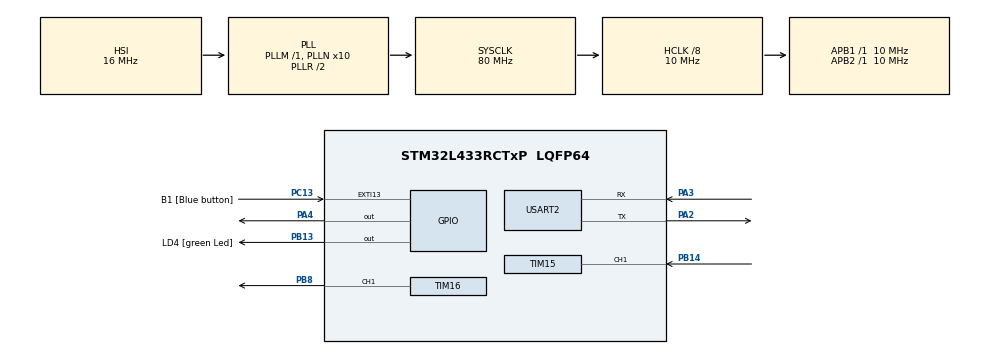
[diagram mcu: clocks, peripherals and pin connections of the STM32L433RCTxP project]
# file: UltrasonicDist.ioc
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Mcu.Family=STM32L4
Mcu.Name=STM32L433RCTxP
Mcu.Package=LQFP64
NVIC.EXTI15_10_IRQn=true\:0\:0\:false\:false\:true\:true\:true\:true
NVIC.PriorityGroup=NVIC_PRIORITYGROUP_4
NVIC.TIM1_BRK_TIM15_IRQn=true\:0\:0\:false\:false\:true\:true\:true\:true
PA2.Mode=Asynchronous
PA2.Signal=USART2_TX
PA3.Mode=Asynchronous
PA3.Signal=USART2_RX
PA4.Signal=GPIO_Output
PB13.GPIO_Label=LD4 [green Led]
PB13.Signal=GPIO_Output
PB14.Signal=S_TIM15_CH1
PB8.Signal=S_TIM16_CH1
PC13.GPIO_Label=B1 [Blue button]
PC13.Signal=GPXTI13
ProjectManager.HeapSize=0x200
ProjectManager.StackSize=0x400
ProjectManager.TargetToolchain=STM32CubeIDE
RCC.ADCFreq_Value=64000000
RCC.AHBCLKDivider=RCC_SYSCLK_DIV8
RCC.AHBFreq_Value=10000000
RCC.APB1Freq_Value=10000000
RCC.APB1TimFreq_Value=10000000
RCC.APB2Freq_Value=10000000
RCC.APB2TimFreq_Value=10000000
RCC.CortexFreq_Value=10000000
RCC.HCLKFreq_Value=10000000
RCC.HSE_VALUE=8000000
RCC.HSI48_VALUE=48000000
RCC.HSI_VALUE=16000000
RCC.LSE_VALUE=32768
RCC.MSI_VALUE=4000000
RCC.PLLN=10
RCC.PLLSourceVirtual=RCC_PLLSOURCE_HSI
RCC.PREFETCH_ENABLE=1
RCC.SYSCLKFreq_VALUE=80000000
RCC.SYSCLKSource=RCC_SYSCLKSOURCE_PLLCLK
RCC.USBFreq_Value=64000000
RCC.VCOOutputFreq_Value=160000000
SH.S_TIM15_CH1.0=TIM15_CH1,Input_Capture1_from_TI1
SH.S_TIM16_CH1.0=TIM16_CH1,PWM Generation1 CH1
TIM15.Channel-Input_Capture1_from_TI1=TIM_CHANNEL_1
TIM15.ICPolarity_CH1=TIM_INPUTCHANNELPOLARITY_BOTHEDGE
TIM15.Period=29999
TIM15.Prescaler=9
TIM16.Channel=TIM_CHANNEL_1
TIM16.Period=29999
TIM16.Prescaler=9
TIM16.Pulse=10
USART2.VirtualMode-Asynchronous=VM_ASYNC
VP_TIM16_VS_ClockSourceINT.Mode=Enable_Timer
board=NUCLEO-L433RC-P

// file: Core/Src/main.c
/* USER CODE BEGIN Header */
/**
  ******************************************************************************
  * @file           : main.c
  * @brief          : Main program body
  ******************************************************************************
  * @attention
  *
  * Copyright (c) 2026 STMicroelectronics.
  * All rights reserved.
  *
  * This software is licensed under terms that can be found in the LICENSE file
  * in the root directory of this software component.
  * If no LICENSE file comes with this software, it is provided AS-IS.
  *
  ******************************************************************************
  */
/* USER CODE END Header */
#include "main.h"

/* USER CODE BEGIN Includes */

#include<stdio.h>
#include<string.h>

/* USER CODE END Includes */

TIM_HandleTypeDef htim15;
TIM_HandleTypeDef htim16;

UART_HandleTypeDef huart2;

/* USER CODE BEGIN PV */

int currentState, edgeType, riseCount, fallCount, overflowCount, counter;
float riseTime, fallTime;
float timeStamp[100] = {};
float distance[100] = {};
int arr = 30000;
uint8_t buf[80];

/* USER CODE END PV */

void SystemClock_Config(void);
static void MX_GPIO_Init(void);
static void MX_TIM16_Init(void);
static void MX_TIM15_Init(void);
static void MX_USART2_UART_Init(void);

/* USER CODE BEGIN 0 */

void switchOnOff(void)
{
	switch (currentState) {
	case 0:  HAL_GPIO_WritePin(GPIOA, GPIO_PIN_4, GPIO_PIN_SET); //start voltage supply to the electromagnet
		 	 HAL_TIM_PWM_Stop(&htim16, TIM_CHANNEL_1); //this is stopping the timer to send pulses to the trigger input
		 	 HAL_TIM_IC_Stop_IT(&htim15, TIM_CHANNEL_1); //this is stopping the input capture interrupt timer to monitor pulses from echo output
		 	 HAL_TIM_Base_Stop_IT(&htim15); //this is stopping the base interrupt timer of echo output
	         break;
	case 1:  HAL_GPIO_WritePin(GPIOA, GPIO_PIN_4, GPIO_PIN_RESET); //stop voltage supply to the electromagnet
			 HAL_TIM_PWM_Start(&htim16, TIM_CHANNEL_1); //this is starting the timer to send pulses to the trigger input
			 HAL_TIM_IC_Start_IT(&htim15, TIM_CHANNEL_1); //this is starting the input capture interrupt timer to monitor pulses from echo output
			 HAL_TIM_Base_Start_IT(&htim15); //this is starting the base interrupt timer of echo output
			 break;
	default: HAL_GPIO_WritePin(GPIOA, GPIO_PIN_4, GPIO_PIN_SET);
			 HAL_TIM_PWM_Stop(&htim16, TIM_CHANNEL_1);
		 	 HAL_TIM_IC_Stop_IT(&htim15, TIM_CHANNEL_1);
		 	 HAL_TIM_Base_Stop_IT(&htim15);
	}
}

//This code is called whenever TIM15 overflows and goes back to 0
void HAL_TIM_PeriodElapsedCallback(TIM_HandleTypeDef *htim) {
	if (htim->Instance == TIM15) {
		overflowCount ++;
	}
}

//This code is called whenever there is rising or falling edge on the echo output
void HAL_TIM_IC_CaptureCallback(TIM_HandleTypeDef *htim) {
	if (htim->Instance == TIM15) {  //check if this is the timer15 we expect
		if (edgeType == 0) { //edgeType 0 is rising
			riseCount = HAL_TIM_ReadCapturedValue(htim, TIM_CHANNEL_1); //get the counter value at the exact rising edge
			riseTime = (float)(riseCount + overflowCount*arr)*0.000001; //get the time value at rising edge
			edgeType = 1; //next is falling edge
		}
		else if (edgeType == 1) { //edgeType 1 is falling
			fallCount = HAL_TIM_ReadCapturedValue(htim, TIM_CHANNEL_1); //get the counter value at the exact falling edge
			fallTime = (float)(fallCount + overflowCount*arr)*0.000001; //get the time value at falling edge
			edgeType = 0; //next is rising again
			timeStamp[counter] = (riseTime + fallTime)/2; //the time value "exactly" when the signal hits the car
			distance[counter] = ((fallTime - riseTime)/2)*343; //calculate the distance in m
			if(counter < 99) {
				counter ++; //move to the next member of the arrays
			}
		}
	}
}

// This code is called whenever the blue push button is pressed
void HAL_GPIO_EXTI_Callback(uint16_t GPIO_Pin) {
	if (GPIO_Pin == B1_Pin) {
		currentState = (currentState + 1) % 2;
		switchOnOff();
	}
}

/* USER CODE END 0 */

int main(void)
{

  /* MCU Configuration--------------------------------------------------------*/

  /* Reset of all peripherals, Initializes the Flash interface and the Systick. */
  HAL_Init();

  /* USER CODE BEGIN Init */

  currentState = 0;
  edgeType = 0;
  riseCount = 0;
  fallCount = 0;
  riseTime = 0;
  fallTime = 0;
  overflowCount = 0;
  counter = 0;

  /* USER CODE END Init */

  /* Configure the system clock */
  SystemClock_Config();

  /* Initialize all configured peripherals */
  MX_GPIO_Init();
  MX_TIM16_Init();
  MX_TIM15_Init();
  MX_USART2_UART_Init();
  /* USER CODE BEGIN 2 */

  switchOnOff(); //Reflect the current state with electromagnet on, timer off

  /* USER CODE END 2 */

  /* Infinite loop */
  while (1)
  {

    /* USER CODE BEGIN 3 */
	  if (counter == 99) {
		  for(int i = 0; i < 100; i++) {
			  sprintf((char *)buf, "Time stamp: %f, Distance: %f m\n", timeStamp[i], distance[i]);
			  HAL_UART_Transmit(&huart2, buf, strlen((char*)buf), HAL_MAX_DELAY); //printing riseCount, fallCount, countStamp, distance to the computer (can be seen using PuTTY)
		  }
		  counter ++;
	  }
	  HAL_GPIO_TogglePin(GPIOB, LD4_Pin); //LED flashing indicates microcontroller is working
	  HAL_Delay(100);
  }
  /* USER CODE END 3 */
}

void SystemClock_Config(void)
{
  RCC_OscInitTypeDef RCC_OscInitStruct = {0};
  RCC_ClkInitTypeDef RCC_ClkInitStruct = {0};

  /** Configure the main internal regulator output voltage
  */
  if (HAL_PWREx_ControlVoltageScaling(PWR_REGULATOR_VOLTAGE_SCALE1) != HAL_OK)
  {
    Error_Handler();
  }

  /** Initializes the RCC Oscillators according to the specified parameters
  * in the RCC_OscInitTypeDef structure.
  */
  RCC_OscInitStruct.OscillatorType = RCC_OSCILLATORTYPE_HSI;
  RCC_OscInitStruct.HSIState = RCC_HSI_ON;
  RCC_OscInitStruct.HSICalibrationValue = RCC_HSICALIBRATION_DEFAULT;
  RCC_OscInitStruct.PLL.PLLState = RCC_PLL_ON;
  RCC_OscInitStruct.PLL.PLLSource = RCC_PLLSOURCE_HSI;
  RCC_OscInitStruct.PLL.PLLM = 1;
  RCC_OscInitStruct.PLL.PLLN = 10;
  RCC_OscInitStruct.PLL.PLLP = RCC_PLLP_DIV7;
  RCC_OscInitStruct.PLL.PLLQ = RCC_PLLQ_DIV2;
  RCC_OscInitStruct.PLL.PLLR = RCC_PLLR_DIV2;
  if (HAL_RCC_OscConfig(&RCC_OscInitStruct) != HAL_OK)
  {
    Error_Handler();
  }

  /** Initializes the CPU, AHB and APB buses clocks
  */
  RCC_ClkInitStruct.ClockType = RCC_CLOCKTYPE_HCLK|RCC_CLOCKTYPE_SYSCLK
                              |RCC_CLOCKTYPE_PCLK1|RCC_CLOCKTYPE_PCLK2;
  RCC_ClkInitStruct.SYSCLKSource = RCC_SYSCLKSOURCE_PLLCLK;
  RCC_ClkInitStruct.AHBCLKDivider = RCC_SYSCLK_DIV8;
  RCC_ClkInitStruct.APB1CLKDivider = RCC_HCLK_DIV1;
  RCC_ClkInitStruct.APB2CLKDivider = RCC_HCLK_DIV1;

  if (HAL_RCC_ClockConfig(&RCC_ClkInitStruct, FLASH_LATENCY_0) != HAL_OK)
  {
    Error_Handler();
  }
}

static void MX_TIM15_Init(void)
{

  TIM_MasterConfigTypeDef sMasterConfig = {0};
  TIM_IC_InitTypeDef sConfigIC = {0};

  htim15.Instance = TIM15;
  htim15.Init.Prescaler = 9;
  htim15.Init.CounterMode = TIM_COUNTERMODE_UP;
  htim15.Init.Period = 29999;
  htim15.Init.ClockDivision = TIM_CLOCKDIVISION_DIV1;
  htim15.Init.RepetitionCounter = 0;
  htim15.Init.AutoReloadPreload = TIM_AUTORELOAD_PRELOAD_DISABLE;
  if (HAL_TIM_IC_Init(&htim15) != HAL_OK)
  {
    Error_Handler();
  }
  sMasterConfig.MasterOutputTrigger = TIM_TRGO_RESET;
  sMasterConfig.MasterSlaveMode = TIM_MASTERSLAVEMODE_DISABLE;
  if (HAL_TIMEx_MasterConfigSynchronization(&htim15, &sMasterConfig) != HAL_OK)
  {
    Error_Handler();
  }
  sConfigIC.ICPolarity = TIM_INPUTCHANNELPOLARITY_BOTHEDGE;
  sConfigIC.ICSelection = TIM_ICSELECTION_DIRECTTI;
  sConfigIC.ICPrescaler = TIM_ICPSC_DIV1;
  sConfigIC.ICFilter = 0;
  if (HAL_TIM_IC_ConfigChannel(&htim15, &sConfigIC, TIM_CHANNEL_1) != HAL_OK)
  {
    Error_Handler();
  }

}

static void MX_TIM16_Init(void)
{

  TIM_OC_InitTypeDef sConfigOC = {0};
  TIM_BreakDeadTimeConfigTypeDef sBreakDeadTimeConfig = {0};

  htim16.Instance = TIM16;
  htim16.Init.Prescaler = 9;
  htim16.Init.CounterMode = TIM_COUNTERMODE_UP;
  htim16.Init.Period = 29999;
  htim16.Init.ClockDivision = TIM_CLOCKDIVISION_DIV1;
  htim16.Init.RepetitionCounter = 0;
  htim16.Init.AutoReloadPreload = TIM_AUTORELOAD_PRELOAD_DISABLE;
  if (HAL_TIM_Base_Init(&htim16) != HAL_OK)
  {
    Error_Handler();
  }
  if (HAL_TIM_PWM_Init(&htim16) != HAL_OK)
  {
    Error_Handler();
  }
  sConfigOC.OCMode = TIM_OCMODE_PWM1;
  sConfigOC.Pulse = 10;
  sConfigOC.OCPolarity = TIM_OCPOLARITY_HIGH;
  sConfigOC.OCNPolarity = TIM_OCNPOLARITY_HIGH;
  sConfigOC.OCFastMode = TIM_OCFAST_DISABLE;
  sConfigOC.OCIdleState = TIM_OCIDLESTATE_RESET;
  sConfigOC.OCNIdleState = TIM_OCNIDLESTATE_RESET;
  if (HAL_TIM_PWM_ConfigChannel(&htim16, &sConfigOC, TIM_CHANNEL_1) != HAL_OK)
  {
    Error_Handler();
  }
  sBreakDeadTimeConfig.OffStateRunMode = TIM_OSSR_DISABLE;
  sBreakDeadTimeConfig.OffStateIDLEMode = TIM_OSSI_DISABLE;
  sBreakDeadTimeConfig.LockLevel = TIM_LOCKLEVEL_OFF;
  sBreakDeadTimeConfig.DeadTime = 0;
  sBreakDeadTimeConfig.BreakState = TIM_BREAK_DISABLE;
  sBreakDeadTimeConfig.BreakPolarity = TIM_BREAKPOLARITY_HIGH;
  sBreakDeadTimeConfig.AutomaticOutput = TIM_AUTOMATICOUTPUT_DISABLE;
  if (HAL_TIMEx_ConfigBreakDeadTime(&htim16, &sBreakDeadTimeConfig) != HAL_OK)
  {
    Error_Handler();
  }
  HAL_TIM_MspPostInit(&htim16);

}

static void MX_USART2_UART_Init(void)
{

  huart2.Instance = USART2;
  huart2.Init.BaudRate = 115200;
  huart2.Init.WordLength = UART_WORDLENGTH_8B;
  huart2.Init.StopBits = UART_STOPBITS_1;
  huart2.Init.Parity = UART_PARITY_NONE;
  huart2.Init.Mode = UART_MODE_TX_RX;
  huart2.Init.HwFlowCtl = UART_HWCONTROL_NONE;
  huart2.Init.OverSampling = UART_OVERSAMPLING_16;
  huart2.Init.OneBitSampling = UART_ONE_BIT_SAMPLE_DISABLE;
  huart2.AdvancedInit.AdvFeatureInit = UART_ADVFEATURE_NO_INIT;
  if (HAL_UART_Init(&huart2) != HAL_OK)
  {
    Error_Handler();
  }

}

static void MX_GPIO_Init(void)
{
  GPIO_InitTypeDef GPIO_InitStruct = {0};

  /* GPIO Ports Clock Enable */
  __HAL_RCC_GPIOC_CLK_ENABLE();
  __HAL_RCC_GPIOA_CLK_ENABLE();
  __HAL_RCC_GPIOB_CLK_ENABLE();

  /*Configure GPIO pin Output Level */
  HAL_GPIO_WritePin(GPIOA, GPIO_PIN_4, GPIO_PIN_RESET);

  /*Configure GPIO pin Output Level */
  HAL_GPIO_WritePin(LD4_GPIO_Port, LD4_Pin, GPIO_PIN_RESET);

  /*Configure GPIO pin : B1_Pin */
  GPIO_InitStruct.Pin = B1_Pin;
  GPIO_InitStruct.Mode = GPIO_MODE_IT_RISING;
  GPIO_InitStruct.Pull = GPIO_NOPULL;
  HAL_GPIO_Init(B1_GPIO_Port, &GPIO_InitStruct);

  /*Configure GPIO pin : PA4 */
  GPIO_InitStruct.Pin = GPIO_PIN_4;
  GPIO_InitStruct.Mode = GPIO_MODE_OUTPUT_PP;
  GPIO_InitStruct.Pull = GPIO_NOPULL;
  GPIO_InitStruct.Speed = GPIO_SPEED_FREQ_LOW;
  HAL_GPIO_Init(GPIOA, &GPIO_InitStruct);

  /*Configure GPIO pin : LD4_Pin */
  GPIO_InitStruct.Pin = LD4_Pin;
  GPIO_InitStruct.Mode = GPIO_MODE_OUTPUT_PP;
  GPIO_InitStruct.Pull = GPIO_NOPULL;
  GPIO_InitStruct.Speed = GPIO_SPEED_FREQ_LOW;
  HAL_GPIO_Init(LD4_GPIO_Port, &GPIO_InitStruct);

  /* EXTI interrupt init*/
  HAL_NVIC_SetPriority(EXTI15_10_IRQn, 0, 0);
  HAL_NVIC_EnableIRQ(EXTI15_10_IRQn);

}

void Error_Handler(void)
{
  __disable_irq();
  while (1)
  {
  }
}
